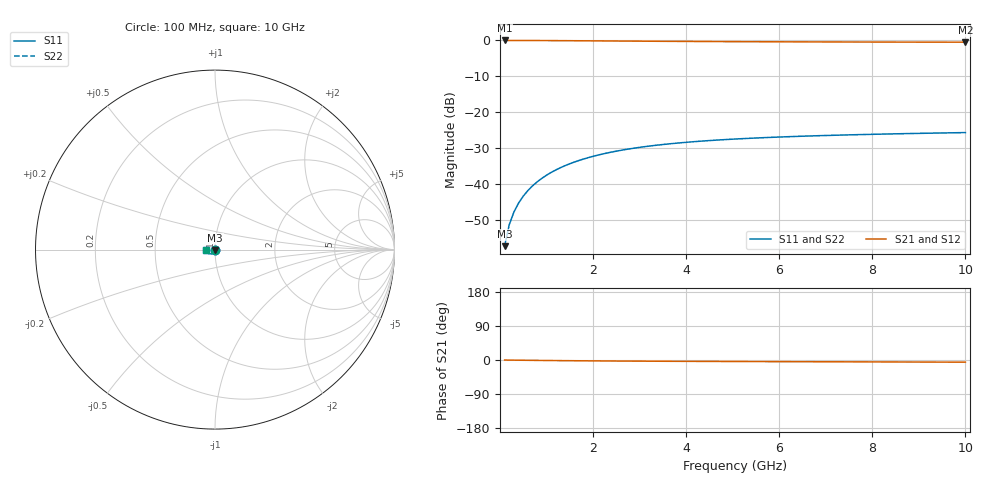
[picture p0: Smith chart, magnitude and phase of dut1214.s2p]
! Touchstone file exported from HFSS 2024.1.0
!  File:  C:/UserFiles/LocalFiles/RDL_TSV_Batchsim/temp_TSV1_1214_1780248662.aedt
!  Generated:  01:38:07 AM Jun  1, 2026
!  Design:  TSV1
!  Project:  temp_TSV1_1214_1780248662
!  Setup:  Setup1
!  Solution:  Sweep
! Variables:
!  dtsv = 9.92um
!  hbump = 3um
!  htsv = 90.67um
!  lrdl = 252.1521522um
!  p = 40
!  p1 = 46.74um
!  t = 500um
!  trdl = 3um
!  wrdl = 24.89489489um
# GHz S MA R 50.000000
! Terminal data exported
! Port[1] = TSV22_T1
! Port[2] = TSV22_T2
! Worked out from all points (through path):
!   100 points, 100 MHz to 10 GHz, reference 50 ohm
!   highest |S21| = 0.00 dB at 100 MHz (marker M1); lowest = -0.5 dB at 10 GHz (marker M2)
!   lowest |S11| = -57.2 dB at 100 MHz (marker M3), VSWR 1.00, Z = 50 - j0.138 ohm
!   |S11| at or under -10 dB: start of sweep to end of sweep
!   |S22| runs from -57.2 to -25.6 dB; largest |S21 - S12| = 2.8e-15
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0.1  0.001381 -85.0  0.9998 -0.1  0.9998 -0.1  0.001381 -85.0
! Gamma 0 0 0 0
! Port Impedance 50 0 50 0
0.2  0.002749 -89.8  0.9997 -0.3  0.9997 -0.3  0.002749 -89.8
0.3  0.004119 -92.6  0.9994 -0.4  0.9994 -0.4  0.004119 -92.6
0.4  0.005485 -94.8  0.9991 -0.5  0.9991 -0.5  0.005485 -94.8
0.5  0.006843 -96.8  0.9988 -0.7  0.9988 -0.7  0.006843 -96.8
0.6  0.008188 -98.7  0.9983 -0.8  0.9983 -0.8  0.008188 -98.7
0.7  0.009517 -100.5  0.9978 -0.9  0.9978 -0.9  0.009517 -100.5
0.8  0.01083 -102.3  0.9972 -1.1  0.9972 -1.1  0.01083 -102.3
0.9  0.01212 -104.0  0.9966 -1.2  0.9966 -1.2  0.01212 -104.0
1.1  0.01462 -107.4  0.9952 -1.4  0.9952 -1.4  0.01462 -107.4
1.4  0.01818 -112.1  0.9927 -1.7  0.9927 -1.7  0.01818 -112.1
1.6  0.02041 -115.2  0.9909 -1.9  0.9909 -1.9  0.02041 -115.2
1.8  0.02251 -118.1  0.989 -2.1  0.989 -2.1  0.02251 -118.1
2.1  0.02544 -122.2  0.9861 -2.4  0.9861 -2.4  0.02543 -122.2
2.5  0.02891 -127.4  0.9822 -2.7  0.9822 -2.7  0.02891 -127.4
2.9  0.03194 -132.1  0.9784 -3.0  0.9784 -3.0  0.03194 -132.1
3.4  0.03517 -137.3  0.9739 -3.3  0.9739 -3.3  0.03516 -137.3
4.2  0.03928 -144.7  0.9677 -3.6  0.9677 -3.6  0.03928 -144.7
5.1  0.04277 -151.7  0.962 -4.0  0.962 -4.0  0.04277 -151.7
6.7  0.04709 -161.6  0.9547 -4.6  0.9547 -4.6  0.04709 -161.6
8.4  0.05019 -169.9  0.9494 -5.2  0.9494 -5.2  0.05019 -169.9
10  0.05236 -176.5  0.946 -5.7  0.946 -5.7  0.05236 -176.5
